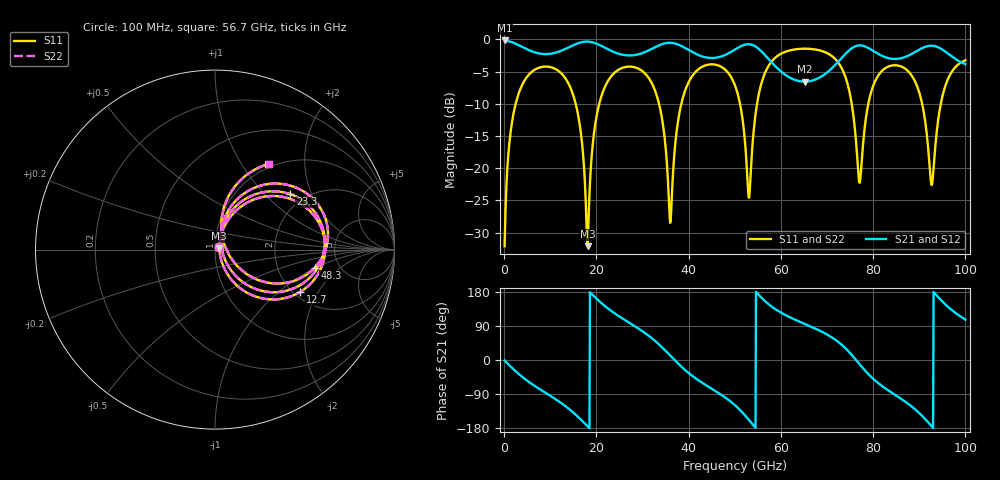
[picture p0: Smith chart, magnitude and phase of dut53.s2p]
! Touchstone file exported from HFSS 2026.1.0
!  File:  C:/ffzhzh/LocalFiles/Ansys_Project_Files/temp_train_TSV_RDL_53_1783446130_7600.aedt
!  Generated:  01:53:20 AM Jul  8, 2026
!  Design:  TSV_RDL
!  Project:  temp_train_TSV_RDL_53_1783446130_7600
! Variables:
!  h_bsmrdl = 3.85um
!  h_ox = 20um
!  h_rdl = 5um
!  h_sub = 81.57um
!  h_tmrdl = 2.49um
!  h_tsv = 81.57um
!  h_via = 3um
!  l_bsmrdl = 248.56um
!  l_sub = 3165.85um
!  l_tmrdl = 477.93um
!  m_sub = 200um
!  pitch = 58.06um
!  r_tsv = 8.75um
!  s_tmrdl = 10um
!  w_bsmrdl = 18.03um
!  w_sub = 500um
!  w_tmrdl = 18.12um
!  x_tsv_center1 = 486.99um
!  x_tsv_center2 = 753.58um
!  x_tsv_center3 = 1249.63um
!  x_tsv_center4 = 1516.22um
!  x_tsv_center5 = 2012.27um
!  x_tsv_center6 = 2278.86um
# GHz S MA R 50.000000
! Terminal data exported
! Port[1] = TM_RDL1_1_T1
! Port[2] = TM_RDL5_1_T1
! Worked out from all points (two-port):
!   1000 points, 100 MHz to 100 GHz, reference 50 ohm
!   highest |S21| = -0.18 dB at 100 MHz (marker M1); lowest = -6.6 dB at 65.2 GHz (marker M2)
!   |S21| within 3 dB of the highest: start of sweep to 57.47 GHz; 72.81 GHz to 98.1 GHz (25.29 GHz wide, 29.6 % of centre)
!   lowest |S11| = -32.1 dB at 18.1 GHz (marker M3), VSWR 1.05, Z = 52.4 + j0.744 ohm
!   |S11| at or under -10 dB: 15.51 GHz to 20.63 GHz (5.118 GHz wide, 28.3 % of centre); 33.57 GHz to 38.42 GHz (4.849 GHz wide, 13.5 % of centre); 90.62 GHz to 94.67 GHz (4.058 GHz wide, 4.38 % of centre) (the widest 3 of 6)
!   |S22| runs from -32.1 to -1.5 dB; largest |S21 - S12| = 3.3e-13
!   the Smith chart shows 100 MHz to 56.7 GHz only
!   S11 on the Smith chart (normalised r, x): 100 MHz: 1.04, +0.03; 12.7 GHz: 2.16, -1.42; 23.3 GHz: 1.69, +1.43; 48.3 GHz: 3.27, -0.98; 56.7 GHz: 0.95, +1.32
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0.1  0.02478 34.9  0.9799 -1.3  0.9799 -1.3  0.02478 34.9
! Gamma 0 0 0 0
! Port Impedance 50 0 50 0
3.4  0.4015 47.2  0.8917 -39.4  0.8917 -39.4  0.4015 47.2
12.7  0.5296 -26.5  0.8245 -116.4  0.8245 -116.4  0.5296 -26.5
16.8  0.1672 -62.6  0.9501 -159.3  0.9501 -159.3  0.1672 -62.6
18.1  0.02477 16.6  0.96 -175.1  0.96 -175.1  0.02478 16.6
20  0.2483 65.8  0.9257 162.2  0.9257 162.2  0.2483 65.8
23.3  0.521 36.3  0.8113 128.8  0.8113 128.8  0.5209 36.3
33.4  0.3342 -42.5  0.8913 43.1  0.8913 43.1  0.3342 -42.5
36  0.0376 7.0  0.9401 11.8  0.9401 11.8  0.03761 7.1
39.7  0.4411 54.1  0.8383 -31.4  0.8383 -31.4  0.4412 54.2
48.3  0.564 -10.4  0.768 -102.2  0.768 -102.2  0.5641 -10.3
50.1  0.4333 -25.5  0.8355 -119.9  0.8355 -119.9  0.4335 -25.3
53.1  0.05888 24.7  0.9159 -158.6  0.9159 -158.6  0.06062 24.5
56.7  0.5631 58.1  0.7443 153.8  0.7443 153.8  0.5632 57.9
65.2  0.8458 4.7  0.4693 95.1  0.4693 95.1  0.8457 4.7
66.7  0.8406 -2.6  0.4771 87.1  0.4771 87.1  0.8406 -2.6
73.7  0.5431 -49.0  0.7512 34.5  0.7512 34.5  0.5429 -49.1
77.1  0.07704 -5.4  0.8974 -11.8  0.8974 -11.8  0.07628 -5.2
83.4  0.6169 7.1  0.7127 -81.1  0.7127 -81.1  0.617 7.2
89.5  0.4353 -38.1  0.8122 -134.4  0.8122 -134.4  0.4354 -38.1
92.7  0.07393 5.1  0.8928 -174.9  0.8928 -174.9  0.07366 5.0
100  0.6867 14.6  0.6424 106.6  0.6424 106.6  0.6867 14.7
